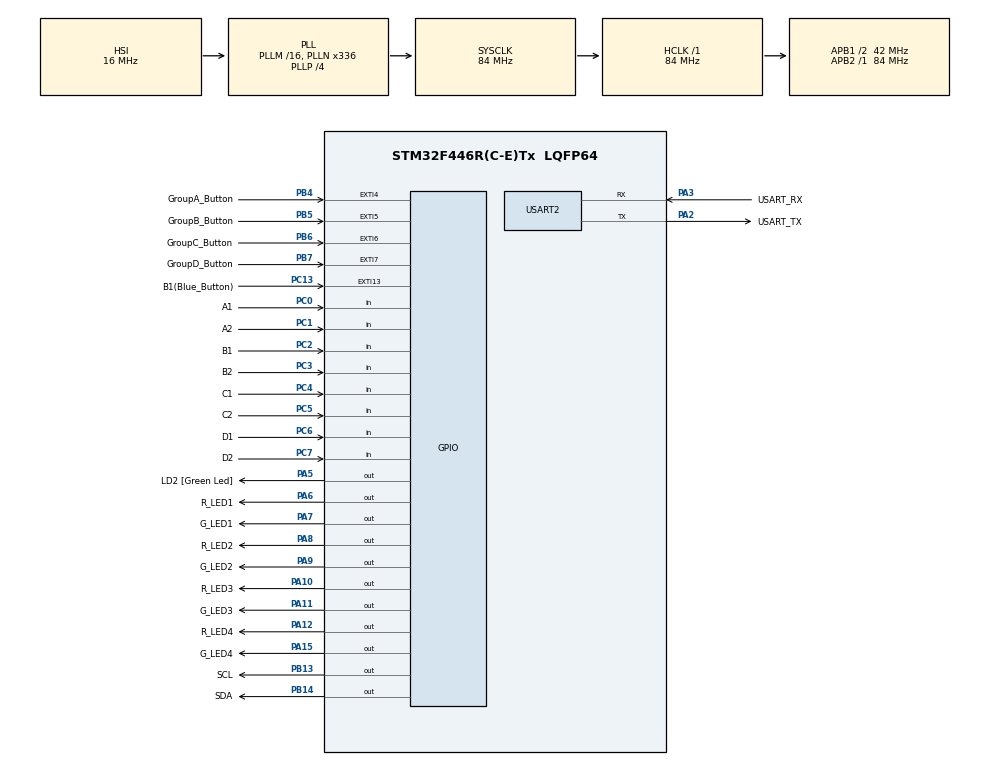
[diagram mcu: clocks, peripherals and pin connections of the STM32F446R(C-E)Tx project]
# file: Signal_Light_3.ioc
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Mcu.Family=STM32F4
Mcu.Name=STM32F446R(C-E)Tx
Mcu.Package=LQFP64
NVIC.PriorityGroup=NVIC_PRIORITYGROUP_0
PA10.GPIO_Label=R_LED3
PA10.Signal=GPIO_Output
PA11.GPIO_Label=G_LED3
PA11.Signal=GPIO_Output
PA12.GPIO_Label=R_LED4
PA12.Signal=GPIO_Output
PA13.GPIO_Label=TMS
PA13.Mode=Serial_Wire
PA13.Signal=SYS_JTMS-SWDIO
PA14.GPIO_Label=TCK
PA14.Mode=Serial_Wire
PA14.Signal=SYS_JTCK-SWCLK
PA15.GPIO_Label=G_LED4
PA15.Signal=GPIO_Output
PA2.GPIO_Label=USART_TX
PA2.Mode=Asynchronous
PA2.Signal=USART2_TX
PA3.GPIO_Label=USART_RX
PA3.Mode=Asynchronous
PA3.Signal=USART2_RX
PA5.GPIO_Label=LD2 [Green Led]
PA5.Signal=GPIO_Output
PA6.GPIO_Label=R_LED1
PA6.Signal=GPIO_Output
PA7.GPIO_Label=G_LED1
PA7.Signal=GPIO_Output
PA8.GPIO_Label=R_LED2
PA8.Signal=GPIO_Output
PA9.GPIO_Label=G_LED2
PA9.Signal=GPIO_Output
PB13.GPIO_Label=SCL
PB13.GPIO_ModeDefaultOutputPP=GPIO_MODE_OUTPUT_PP
PB13.GPIO_PuPd=GPIO_PULLUP
PB13.Signal=GPIO_Output
PB14.GPIO_Label=SDA
PB14.GPIO_ModeDefaultOutputPP=GPIO_MODE_OUTPUT_PP
PB14.GPIO_PuPd=GPIO_PULLUP
PB14.Signal=GPIO_Output
PB3.GPIO_Label=SWO
PB3.Signal=SYS_JTDO-SWO
PB4.GPIO_Label=GroupA_Button
PB4.GPIO_ModeDefaultEXTI=GPIO_MODE_IT_FALLING
PB4.GPIO_PuPd=GPIO_PULLUP
PB4.Signal=GPXTI4
PB5.GPIO_Label=GroupB_Button
PB5.GPIO_ModeDefaultEXTI=GPIO_MODE_IT_FALLING
PB5.GPIO_PuPd=GPIO_PULLUP
PB5.Signal=GPXTI5
PB6.GPIO_Label=GroupC_Button
PB6.GPIO_ModeDefaultEXTI=GPIO_MODE_IT_FALLING
PB6.GPIO_PuPd=GPIO_PULLUP
PB6.Signal=GPXTI6
PB7.GPIO_Label=GroupD_Button
PB7.GPIO_ModeDefaultEXTI=GPIO_MODE_IT_FALLING
PB7.GPIO_PuPd=GPIO_PULLUP
PB7.Signal=GPXTI7
PC0.GPIO_Label=A1
PC0.GPIO_PuPd=GPIO_PULLUP
PC0.Signal=GPIO_Input
PC1.GPIO_Label=A2
PC1.GPIO_PuPd=GPIO_PULLUP
PC1.Signal=GPIO_Input
PC13.GPIO_Label=B1(Blue_Button)
PC13.GPIO_ModeDefaultEXTI=GPIO_MODE_IT_FALLING
PC13.Signal=GPXTI13
PC14-OSC32_IN.Mode=LSE-External-Oscillator
PC14-OSC32_IN.Signal=RCC_OSC32_IN
PC15-OSC32_OUT.Mode=LSE-External-Oscillator
PC15-OSC32_OUT.Signal=RCC_OSC32_OUT
PC2.GPIO_Label=B1
PC2.GPIO_PuPd=GPIO_PULLUP
PC2.Signal=GPIO_Input
PC3.GPIO_Label=B2
PC3.GPIO_PuPd=GPIO_PULLUP
PC3.Signal=GPIO_Input
PC4.GPIO_Label=C1
PC4.GPIO_PuPd=GPIO_PULLUP
PC4.Signal=GPIO_Input
PC5.GPIO_Label=C2
PC5.GPIO_PuPd=GPIO_PULLUP
PC5.Signal=GPIO_Input
PC6.GPIO_Label=D1
PC6.GPIO_PuPd=GPIO_PULLUP
PC6.Signal=GPIO_Input
PC7.GPIO_Label=D2
PC7.GPIO_PuPd=GPIO_PULLUP
PC7.Signal=GPIO_Input
PH0-OSC_IN.Mode=HSE-External-Oscillator
PH0-OSC_IN.Signal=RCC_OSC_IN
PH1-OSC_OUT.Mode=HSE-External-Oscillator
PH1-OSC_OUT.Signal=RCC_OSC_OUT
ProjectManager.HeapSize=0x200
ProjectManager.StackSize=0x400
ProjectManager.TargetToolchain=MDK-ARM V5.32
RCC.48MHZClocksFreq_Value=84000000
RCC.AHBFreq_Value=84000000
RCC.APB1CLKDivider=RCC_HCLK_DIV2
RCC.APB1Freq_Value=42000000
RCC.APB1TimFreq_Value=84000000
RCC.APB2Freq_Value=84000000
RCC.APB2TimFreq_Value=84000000
RCC.CortexFreq_Value=84000000
RCC.FLatency-AdvancedSettings=FLASH_LATENCY_2
RCC.HCLKFreq_Value=84000000
RCC.HSE_VALUE=8000000
RCC.HSI_VALUE=16000000
RCC.PLLN=336
RCC.PLLP=RCC_PLLP_DIV4
RCC.SYSCLKFreq_VALUE=84000000
RCC.SYSCLKSource=RCC_SYSCLKSOURCE_PLLCLK
RCC.USBFreq_Value=168000000
RCC.VCOOutputFreq_Value=336000000
USART2.VirtualMode=VM_ASYNC
board=NUCLEO-F446RE

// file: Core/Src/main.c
/* USER CODE BEGIN Header */
/**
  ******************************************************************************
  * @file           : main.c
  * @brief          : Main program body
  ******************************************************************************
  * @attention
  *
  * Copyright (c) 2025 STMicroelectronics.
  * All rights reserved.
  *
  * This software is licensed under terms that can be found in the LICENSE file
  * in the root directory of this software component.
  * If no LICENSE file comes with this software, it is provided AS-IS.
  *
  ******************************************************************************
  */
/* USER CODE END Header */
#include "main.h"
#include "usart.h"
#include "gpio.h"

/* USER CODE BEGIN Includes */

#include "OLED.h"

/* USER CODE END Includes */

/* USER CODE BEGIN PD */

//LED
#define R_LED1_PIN GPIO_PIN_6   // PA6
#define G_LED1_PIN GPIO_PIN_7   // PA7
#define R_LED2_PIN GPIO_PIN_8   // PA8
#define G_LED2_PIN GPIO_PIN_9   // PA9
#define R_LED3_PIN GPIO_PIN_10  // PA10
#define G_LED3_PIN GPIO_PIN_11  // PA11
#define R_LED4_PIN GPIO_PIN_12  // PA12
#define G_LED4_PIN GPIO_PIN_15  // PA15
//IR
#define IR_A1_PIN  GPIO_PIN_0  // PC0
#define IR_A2_PIN  GPIO_PIN_1  // PC1
#define IR_B1_PIN  GPIO_PIN_2  // PC2
#define IR_B2_PIN  GPIO_PIN_3  // PC3
#define IR_C1_PIN  GPIO_PIN_4  // PC4
#define IR_C2_PIN  GPIO_PIN_5  // PC5
#define IR_D1_PIN  GPIO_PIN_6  // PC6
#define IR_D2_PIN  GPIO_PIN_7  // PC7

#define ALL_RED_PINS (R_LED1_PIN | R_LED2_PIN | R_LED3_PIN | R_LED4_PIN)
#define ALL_GREEN_PINS (G_LED1_PIN | G_LED2_PIN | G_LED3_PIN | G_LED4_PIN)

#define ALL_LED_MASK (R_LED1_PIN | G_LED1_PIN | R_LED2_PIN | G_LED2_PIN | \
                      R_LED3_PIN | G_LED3_PIN | R_LED4_PIN | G_LED4_PIN)

int state = 0;
int current_group = 1;
int current_state = 0;

/* USER CODE END PD */

/* USER CODE BEGIN PV */

volatile uint32_t last_button_press = 0;

/* USER CODE END PV */

void SystemClock_Config(void);
/* USER CODE BEGIN PFP */

//OLED Display
void oled_display(void){

		OLED_ShowString(1,1,"Group:");
		switch(current_group){
				case 1: OLED_ShowString(1, 7, "A");break;
				case 2: OLED_ShowString(1, 7, "B");break;
				case 3: OLED_ShowString(1, 7, "C");break;
				case 4: OLED_ShowString(1, 7, "D");break;
				default : OLED_ShowString(1, 7, "A");break;
			}

		OLED_ShowString(2,1,"State:");
		OLED_ShowString(2, 7, "       ");

		switch(current_state){
				case 0: OLED_ShowString(2, 7, "Normal");break;
				case 1: OLED_ShowString(2, 7, "Busy");break;
				case 2: OLED_ShowString(2, 7, "Carless");break;
				default : OLED_ShowString(2, 7, "Normal");break;
			}

		OLED_ShowString(3,1,"Time:");
		OLED_ShowString(3, 7, "       ");
		switch(current_state){
				case 0: OLED_ShowString(3, 7, "5s");break;
				case 1: OLED_ShowString(3, 7, "5-15s");break;
				case 2: OLED_ShowString(3, 7, "3s");break;
				default : OLED_ShowString(3, 7, "5s");break;
			}

}

//ALL RED ON
void ALL_RED_ON(void) {

		GPIOA->ODR &= ~ALL_GREEN_PINS;
    GPIOA->ODR |= ALL_RED_PINS;
		HAL_Delay(2000);

}

//ALL LED ON for 2s
void ALL_LED_ON(void) {

		GPIOA->ODR |= ALL_LED_MASK;
		HAL_Delay(2000);

}

// Red-ON Green-OFF
void R_LED_ON(int group) {
    switch(group) {
        case 1:  // A
            GPIOA->ODR &= ~G_LED1_PIN;  // G OFF
            GPIOA->ODR |= R_LED1_PIN;   // R ON
            break;
        case 2:  // B
            GPIOA->ODR &= ~G_LED2_PIN;  // G OFF
            GPIOA->ODR |= R_LED2_PIN;   // R ON
            break;
        case 3:  // C
            GPIOA->ODR &= ~G_LED3_PIN;  // G OFF
            GPIOA->ODR |= R_LED3_PIN;   // R ON
            break;
        case 4:  // D
            GPIOA->ODR &= ~G_LED4_PIN;  // G OFF
            GPIOA->ODR |= R_LED4_PIN;   // R ON
            break;
    }
}

// Red-OFF Green-ON
void R_LED_OFF(int group) {
    switch(group) {
        case 1:  // A
            GPIOA->ODR &= ~R_LED1_PIN;  // R OFF
            GPIOA->ODR |= G_LED1_PIN;   // G ON
            break;
        case 2:  // B
            GPIOA->ODR &= ~R_LED2_PIN;  // R OFF
            GPIOA->ODR |= G_LED2_PIN;   // G ON
            break;
        case 3:  // C
            GPIOA->ODR &= ~R_LED3_PIN;  // R OFF
            GPIOA->ODR |= G_LED3_PIN;   // G ON
            break;
        case 4:  // D
            GPIOA->ODR &= ~R_LED4_PIN;  // R OFF
            GPIOA->ODR |= G_LED4_PIN;   // G ON
            break;
    }
}

// Green-ON Red-OFF
void G_LED_ON(int group) {
    switch(group) {
        case 1:  // A
            GPIOA->ODR &= ~R_LED1_PIN;  // R OFF
            GPIOA->ODR |= G_LED1_PIN;   // G ON
            break;
        case 2:  // B
            GPIOA->ODR &= ~R_LED2_PIN;  // R OFF
            GPIOA->ODR |= G_LED2_PIN;   // G ON
            break;
        case 3:  // C
            GPIOA->ODR &= ~R_LED3_PIN;  // R OFF
            GPIOA->ODR |= G_LED3_PIN;   // G ON
            break;
        case 4:  // D
            GPIOA->ODR &= ~R_LED4_PIN;  // R OFF
            GPIOA->ODR |= G_LED4_PIN;   // G ON
            break;
    }
}

// Green-OFF Red-ON
void G_LED_OFF(int group) {
    switch(group) {
        case 1:  // A
            GPIOA->ODR &= ~G_LED1_PIN;  // G OFF
            GPIOA->ODR |= R_LED1_PIN;   // R ON
            break;
        case 2:  // B
            GPIOA->ODR &= ~G_LED2_PIN;  // G OFF
            GPIOA->ODR |= R_LED2_PIN;   // R ON
            break;
        case 3:  // C
            GPIOA->ODR &= ~G_LED3_PIN;  // G OFF
            GPIOA->ODR |= R_LED3_PIN;   // R ON
            break;
        case 4:  // D
            GPIOA->ODR &= ~G_LED4_PIN;  // G OFF
            GPIOA->ODR |= R_LED4_PIN;   // R ON
            break;
    }
}

//Blink G LED
void blink(int group) {
    switch(state) {
				case 0:  // normal:blink once
            // G OFF 0.2s
            switch(group) {
                case 1: GPIOA->ODR &= ~G_LED1_PIN; break;
                case 2: GPIOA->ODR &= ~G_LED2_PIN; break;
                case 3: GPIOA->ODR &= ~G_LED3_PIN; break;
                case 4: GPIOA->ODR &= ~G_LED4_PIN; break;
            }
            HAL_Delay(200);

            // G ON 0.2s
            switch(group) {
                case 1: GPIOA->ODR |= G_LED1_PIN; break;
                case 2: GPIOA->ODR |= G_LED2_PIN; break;
                case 3: GPIOA->ODR |= G_LED3_PIN; break;
                case 4: GPIOA->ODR |= G_LED4_PIN; break;
            }
            HAL_Delay(200);
            break;

				case 1:  // busy:blink twice
            for(int i = 0; i < 2; i++) {
                //G OFF 0.2s
                switch(group) {
                    case 1: GPIOA->ODR &= ~G_LED1_PIN; break;
                    case 2: GPIOA->ODR &= ~G_LED2_PIN; break;
                    case 3: GPIOA->ODR &= ~G_LED3_PIN; break;
                    case 4: GPIOA->ODR &= ~G_LED4_PIN; break;
                }
                HAL_Delay(500);

                // G ON 0.2s
                switch(group) {
                    case 1: GPIOA->ODR |= G_LED1_PIN; break;
                    case 2: GPIOA->ODR |= G_LED2_PIN; break;
                    case 3: GPIOA->ODR |= G_LED3_PIN; break;
                    case 4: GPIOA->ODR |= G_LED4_PIN; break;
                }
                HAL_Delay(500);
            }
            break;

				// case 2 (carless) :no blink
    }
}

void emergency(int group)
{
		OLED_ShowString(4, 4, "Acrossing! ");
		R_LED_ON(group);
}

// Read IR1
uint8_t IR1(int group) {
    uint16_t pin;
    switch(group) {
        case 1: pin = IR_A1_PIN; break;  // A
        case 2: pin = IR_B1_PIN; break;  // B
        case 3: pin = IR_C1_PIN; break;  // C
        case 4: pin = IR_D1_PIN; break;  // D
        default: return 0;
    }
    // No car-1; Have car-0
    return (GPIOC->IDR & pin) ? 1 : 0;
}

// Read IR2
uint8_t IR2(int group) {
    uint16_t pin;
    switch(group) {
        case 1: pin = IR_A2_PIN; break;  // A
        case 2: pin = IR_B2_PIN; break;  // B
        case 3: pin = IR_C2_PIN; break;  // C
        case 4: pin = IR_D2_PIN; break;  // D
        default: return 0;
    }
    // No car-1; Have car-0
    return (GPIOC->IDR & pin) ? 1 : 0;
}

// Prediction
void Predict(int group) {

    uint8_t sensor1 = IR1(group);
    uint8_t sensor2 = IR2(group);

    // Both car detected
    if (sensor1 == 0 && sensor2 == 0) {
        state = 1;  // Set busy mode
    }
		else if (sensor1 == 1 && sensor2 == 1) {
        state = 2;  // Set no car mode
    }
    // default
    else {
        state = 0;  // Set normal mode
    }
}

// Normal state
void normal(int group) {
    G_LED_ON(group);      // G ON
		HAL_Delay(200);
		blink(group);
    HAL_Delay(5000);      // 5s
    R_LED_ON(group);      // R ON
}

// Busy state
void busy(int group) {
    uint8_t count = 0;
    uint32_t total_time = 5000;

    G_LED_ON(group);  // G ON
		HAL_Delay(200);
		blink(group);

    // Delay 5s
    HAL_Delay(5000);

    // cheak IR to expand time
    while (count < 5) {  // max 5 times
        if (!IR1(group)) {  // IR=0 car detected
            HAL_Delay(200);  // delay 0.2s
            if (!IR1(group)) {  // detect IR1 again
                HAL_Delay(2000);  // total time +2s
                total_time += 2000;
                count++;

                // cheack max time=15s?
                if (total_time >= 15000) break;
            } else {
                break;  // 2nd detect "1" means it's a mistake
            }
        } else {
            break;  // 1st detect "1" means not busy
        }
    }

    R_LED_ON(group);  // R ON
}

// No Car
void carless(int group) {

    G_LED_ON(group);      // G ON
		//no blink
    HAL_Delay(3000);      // 3s
    R_LED_ON(group);      // R ON

}

/* USER CODE END PFP */

int main(void)
{

  /* MCU Configuration--------------------------------------------------------*/

  /* Reset of all peripherals, Initializes the Flash interface and the Systick. */
  HAL_Init();

  /* USER CODE BEGIN Init */

	__disable_irq();

	// GPIOA, GPIOB, GPIOC, GPIOH clk
	RCC->AHB1ENR |= (1 << 0) | (1 << 1) | (1 << 2) | (1 << 7);

	//GPIOA: ALL LED output
	GPIOA->MODER = 1 << (6*2) | 1 << (7*2) | 1 << (8*2) | 1 << (9*2) | 1 << (10*2) | 1 << (11*2) | 1 << (12*2) | 1 << (15*2);
	GPIOA->OTYPER = 0;
	GPIOA->PUPDR = 0;

	//GPIOC: ALL IR input
	GPIOC->MODER = 0;
	GPIOC->PUPDR = 0;

	//GPIOB: SCL-PB13/SDA-PB14 output, botton(PB4-7) input
	GPIOB->MODER = 1 << (13*2) | 1 << (14*2);
	GPIOB->OTYPER = 0;
	GPIOB->PUPDR = 1 << (13*2) | 1 << (14*2) | 1 << (4*2) | 1 << (5*2) | 1 << (6*2) | 1 << (7*2);

	//Interrupt
	RCC->APB2ENR |= 0x4000;
	// EXTI4 (PB4)
	SYSCFG->EXTICR[1] |= 0x0001;
	EXTI->IMR |= 0x0010;
	EXTI->FTSR |= 0x0010;

	// EXTI5 (PB5)
	SYSCFG->EXTICR[1] |= 0x0010;
	EXTI->IMR |= 0x0020;
	EXTI->FTSR |= 0x0020;

	// EXTI6 (PB6)
	SYSCFG->EXTICR[1] |= 0x0100;
	EXTI->IMR |= 0x0040;
	EXTI->FTSR |= 0x0040;

	// EXTI7 (PB7)
	SYSCFG->EXTICR[1] |= 0x1000;
	EXTI->IMR |= 0x0080;
	EXTI->FTSR |= 0x0080;

	NVIC_EnableIRQ(EXTI4_IRQn);
	NVIC_EnableIRQ(EXTI9_5_IRQn);
	__enable_irq();

  /* USER CODE END Init */

  /* Configure the system clock */
  SystemClock_Config();

  /* Initialize all configured peripherals */
//  MX_GPIO_Init();
  MX_USART2_UART_Init();
  /* USER CODE BEGIN 2 */

	OLED_Init();
	OLED_ShowString(2,2,"Initializing...");
	HAL_Delay(1000);

	int group = 1;

	ALL_LED_ON();
  ALL_RED_ON();

	OLED_Clear();

  /* USER CODE END 2 */

  /* Infinite loop */
  while (1)
  {

    /* USER CODE BEGIN 3 */

		for(;group<=4;group++){

			current_group = group;

			Predict(group);

			current_state = state;
			oled_display();

			switch(state) {
				case 0:  // normal
					normal(group);
					break;
				case 1:  // busy
					busy(group);
					break;
				case 2:  // no car
					carless(group);
					break;
				default: // normal
					normal(group);
					break;}
			OLED_Clear();
		}
		group = 1;

  }
  /* USER CODE END 3 */
}

void SystemClock_Config(void)
{
  RCC_OscInitTypeDef RCC_OscInitStruct = {0};
  RCC_ClkInitTypeDef RCC_ClkInitStruct = {0};

  /** Configure the main internal regulator output voltage
  */
  __HAL_RCC_PWR_CLK_ENABLE();
  __HAL_PWR_VOLTAGESCALING_CONFIG(PWR_REGULATOR_VOLTAGE_SCALE3);

  /** Initializes the RCC Oscillators according to the specified parameters
  * in the RCC_OscInitTypeDef structure.
  */
  RCC_OscInitStruct.OscillatorType = RCC_OSCILLATORTYPE_HSI;
  RCC_OscInitStruct.HSIState = RCC_HSI_ON;
  RCC_OscInitStruct.HSICalibrationValue = RCC_HSICALIBRATION_DEFAULT;
  RCC_OscInitStruct.PLL.PLLState = RCC_PLL_ON;
  RCC_OscInitStruct.PLL.PLLSource = RCC_PLLSOURCE_HSI;
  RCC_OscInitStruct.PLL.PLLM = 16;
  RCC_OscInitStruct.PLL.PLLN = 336;
  RCC_OscInitStruct.PLL.PLLP = RCC_PLLP_DIV4;
  RCC_OscInitStruct.PLL.PLLQ = 2;
  RCC_OscInitStruct.PLL.PLLR = 2;
  if (HAL_RCC_OscConfig(&RCC_OscInitStruct) != HAL_OK)
  {
    Error_Handler();
  }

  /** Initializes the CPU, AHB and APB buses clocks
  */
  RCC_ClkInitStruct.ClockType = RCC_CLOCKTYPE_HCLK|RCC_CLOCKTYPE_SYSCLK
                              |RCC_CLOCKTYPE_PCLK1|RCC_CLOCKTYPE_PCLK2;
  RCC_ClkInitStruct.SYSCLKSource = RCC_SYSCLKSOURCE_PLLCLK;
  RCC_ClkInitStruct.AHBCLKDivider = RCC_SYSCLK_DIV1;
  RCC_ClkInitStruct.APB1CLKDivider = RCC_HCLK_DIV2;
  RCC_ClkInitStruct.APB2CLKDivider = RCC_HCLK_DIV1;

  if (HAL_RCC_ClockConfig(&RCC_ClkInitStruct, FLASH_LATENCY_2) != HAL_OK)
  {
    Error_Handler();
  }
}

/* USER CODE BEGIN 4 */

void EXTI4_IRQHandler(void)
{

	if (EXTI->PR & 1<<4) {

		EXTI->PR = 1<<4;

		// shake inspection
		uint32_t now = HAL_GetTick();
		if (now - last_button_press < 300) {
			return;
		}
		last_button_press = now;

		// if "R ON", do nothing
		if (GPIOA->ODR & R_LED1_PIN) {
			return;
		}

		// if "G ON", turn to RED and display
		if (GPIOA->ODR & G_LED1_PIN) {
			emergency(1);
		}
	}

}

void EXTI9_5_IRQHandler(void)
{
	uint32_t now = HAL_GetTick();
	//GroupB
	if (EXTI->PR & 1<<5) {

		EXTI->PR = 1<<5;

		// shake inspection
		uint32_t now = HAL_GetTick();
		if (now - last_button_press < 300) {
			return;
		}
		last_button_press = now;

		// if "R ON", do nothing
		if (GPIOA->ODR & R_LED2_PIN) {
			return;
		}

		// if "G ON", turn to RED and display
		if (GPIOA->ODR & G_LED2_PIN) {
			emergency(2);
		}
	}

	//GroupC
	if (EXTI->PR & 1<<6) {

		EXTI->PR = 1<<6;

		// shake inspection
		uint32_t now = HAL_GetTick();
		if (now - last_button_press < 300) {
			return;
		}
		last_button_press = now;

		// if "R ON", do nothing
		if (GPIOA->ODR & R_LED3_PIN) {
			return;
		}

		// if "G ON", turn to RED and display
		if (GPIOA->ODR & G_LED3_PIN) {
			emergency(3);
		}
	}

	//GroupD
	if (EXTI->PR & 1<<7) {

		EXTI->PR = 1<<7;

		// shake inspection
		uint32_t now = HAL_GetTick();
		if (now - last_button_press < 300) {
			return;
		}
		last_button_press = now;

		// if "R ON", do nothing
		if (GPIOA->ODR & R_LED4_PIN) {
			return;
		}

		// if "G ON", turn to RED and display
		if (GPIOA->ODR & G_LED4_PIN) {
			emergency(4);
		}
	}

}

/* USER CODE END 4 */

void Error_Handler(void)
{
  __disable_irq();
  while (1)
  {
  }
}
